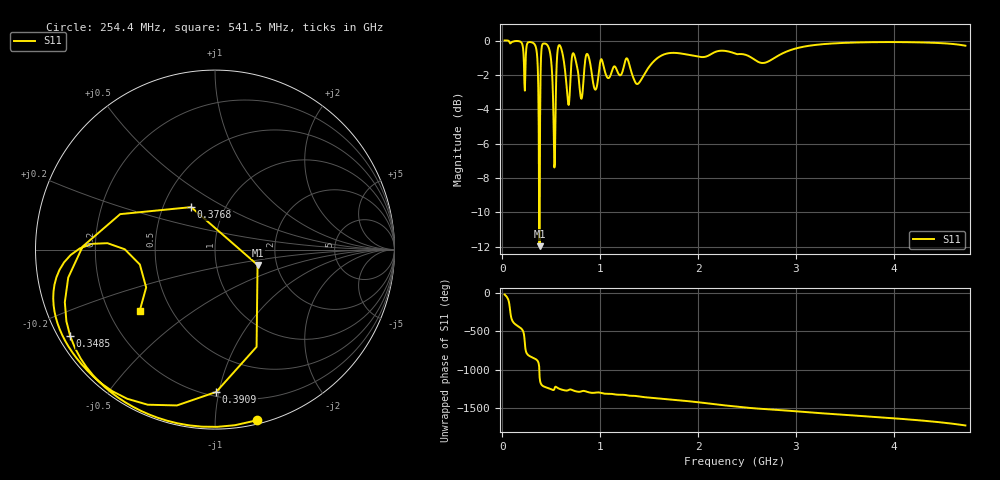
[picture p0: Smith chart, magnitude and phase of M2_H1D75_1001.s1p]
!Keysight Technologies N9923A: A.08.19
!Date: Thursday, 16 January 2020 11:30:00
!TimeZone: (GMT-03:00) Brasilia!Model: N9923A
!Serial: MY51491501
!GPS Latitude:
!GPS Longitude:
!GPS TimeStamp: 0001-01-01 00:00:00Z
!GPS Seconds Since Last Read: 0
!CHECKSUM:1078980270
!Correction: S11(ON U)
!S1P File: Measurement: S11:
# Hz S DB R 50
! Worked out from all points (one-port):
!   1001 points, 23.74 MHz to 4.731 GHz, reference 50 ohm
!   lowest |S11| = -12.0 dB at 381.5 MHz (marker M1), VSWR 1.67, Z = 79.4 - j14.5 ohm
!   |S11| at or under -10 dB: 375.8 MHz to 382.8 MHz (6.95 MHz wide, 1.83 % of centre)
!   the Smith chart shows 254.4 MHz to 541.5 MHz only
!   S11 on the Smith chart (normalised r, x): 254.4 MHz: 0.03, -1.27; 348.5 MHz: 0.03, -0.28; 376.8 MHz: 0.69, +0.35; 390.9 MHz: 0.23, -0.98; 541.5 MHz: 0.33, -0.32
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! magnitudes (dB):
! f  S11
! 23.74 MHz  0.0
! 254.4 MHz  -0.2
! 348.5 MHz  -0.5
! 358 MHz  -1.0
! 376.8 MHz  -11.3
! 381.5 MHz  -12.0
! 390.9 MHz  -2.0
! 414.4 MHz  -0.2
! 438 MHz  -0.2
! 485.1 MHz  -0.6
! 518 MHz  -3.3
! 541.5 MHz  -5.3
! 574.5 MHz  -0.3
! 612.1 MHz  -0.7
! 673.3 MHz  -3.7
! 729.8 MHz  -0.8
! 805.1 MHz  -3.4
! 871 MHz  -0.8
! 946.4 MHz  -2.8
! 1.012 GHz  -1.1
! 1.201 GHz  -2.0
! 1.384 GHz  -2.5
! 1.789 GHz  -0.7
! 2.377 GHz  -0.8
! 2.966 GHz  -0.5
! 3.554 GHz  -0.1
! 4.143 GHz  -0.1
! 4.731 GHz  -0.3
